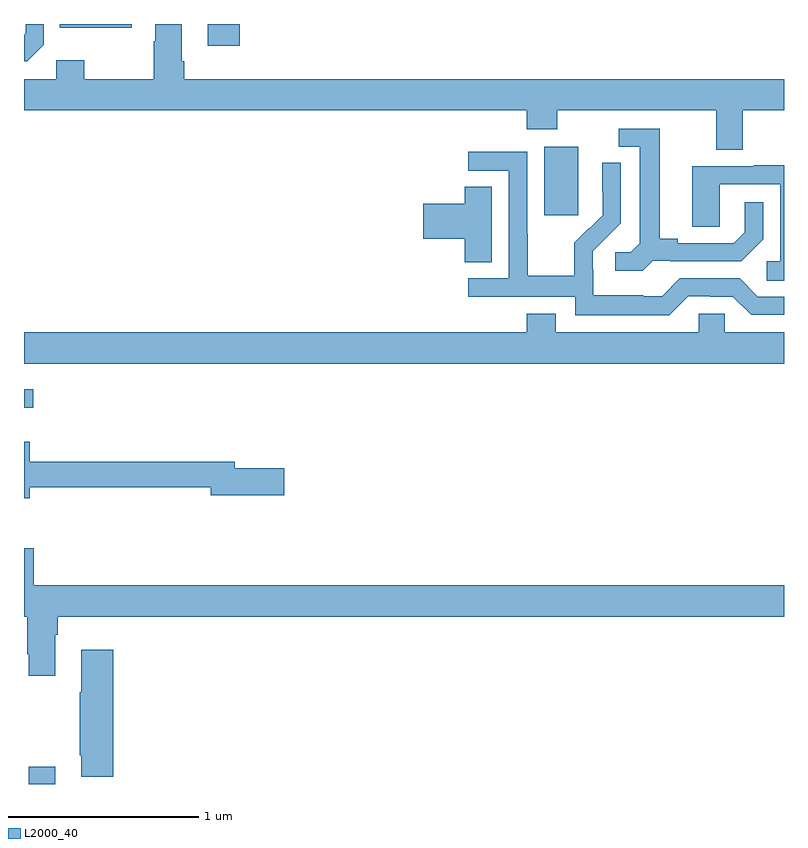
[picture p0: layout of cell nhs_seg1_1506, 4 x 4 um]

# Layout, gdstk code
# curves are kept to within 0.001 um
import gdstk
lib = gdstk.Library(unit=1e-6, precision=1e-09)
def R(c, l, rs):  # rectangles x0, y0, x1, y1
    for r in rs: c.add(gdstk.rectangle(r[:2], r[2:], *l))
def P(c, l, *ps):  # polygons
    for p in ps: c.add(gdstk.Polygon(p, *l))
L2000_40 = (2000, 40)

nhs_seg1_1506 = lib.new_cell('nhs_seg1_1506')
R(nhs_seg1_1506, L2000_40, [(193.025,536.199,193.165,536.29), (193,538.179,193.048,538.276), (195.737,539.193,195.916,539.554), (193.967,540.084,194.135,540.199), (193.189,540.179,193.567,540.199)])
P(nhs_seg1_1506, L2000_40, [(193.104,540.09),(193.104,540.199),(193.008,540.199),(193.008,540.15),(193,540.142),(193,540.003),(193.017,540.003)],
  [(196.783,539.744),(197,539.744),(197,539.908),(193.844,539.908),(193.844,540.004),(193.831,540.004),(193.831,540.199),(193.691,540.199),(193.691,540.107),(193.684,540.107),(193.684,539.908),(193.317,539.908),(193.317,540.007),(193.17,540.007),(193.17,539.908),(193,539.908),(193,539.744),(195.647,539.744),(195.647,539.645),(195.807,539.645),(195.807,539.744),(196.643,539.744),(196.643,539.536),(196.783,539.536)],
  [(196.308,538.953),(196.402,538.953),(196.402,538.95),(196.774,538.95),(196.89,539.066),(196.89,539.26),(196.793,539.26),(196.793,539.103),(196.736,539.046),(196.441,539.046),(196.441,539.069),(196.345,539.069),(196.345,539.649),(196.131,539.649),(196.131,539.553),(196.241,539.553),(196.241,539.045),(196.194,538.998),(196.113,538.998),(196.113,538.901),(196.256,538.901)],
  [(196.497,538.767),(196.613,538.767),(196.613,538.764),(196.731,538.764),(196.827,538.668),(197,538.668),(197,538.764),(196.863,538.764),(196.767,538.86),(196.452,538.86),(196.359,538.767),(196.259,538.767),(196.259,538.771),(195.996,538.771),(195.996,538.905),(195.994,538.905),(195.994,539.002),(196.14,539.15),(196.14,539.468),(196.044,539.468),(196.044,539.314),(196.046,539.314),(196.046,539.192),(195.975,539.121),(195.972,539.124),(195.895,539.047),(195.895,538.873),(195.651,538.873),(195.651,539.096),(195.648,539.096),(195.648,539.526),(195.339,539.526),(195.339,539.427),(195.552,539.427),(195.552,538.86),(195.339,538.86),(195.339,538.764),(195.9,538.764),(195.9,538.667),(196.397,538.667)],
  [(197,539.455),(196.841,539.455),(196.841,539.451),(196.517,539.451),(196.517,539.131),(196.662,539.131),(196.662,539.355),(196.98,539.355),(196.98,538.95),(196.908,538.95),(196.908,538.849),(197,538.849)],
  [(195.463,539.342),(195.32,539.342),(195.32,539.252),(195.102,539.252),(195.102,539.069),(195.32,539.069),(195.32,538.945),(195.463,538.945)],
  [(197,538.576),(196.689,538.576),(196.689,538.674),(196.551,538.674),(196.551,538.576),(195.799,538.576),(195.799,538.675),(195.647,538.675),(195.647,538.576),(193,538.576),(193,538.412),(197,538.412)],
  [(193.03,537.76),(193.982,537.76),(193.982,537.718),(194.371,537.718),(194.371,537.86),(194.11,537.86),(194.11,537.896),(193.03,537.896),(193.03,538),(193,538),(193,537.704),(193.03,537.704)],
  [(193.165,536.984),(193.178,536.984),(193.178,537.08),(197,537.08),(197,537.244),(193.052,537.244),(193.052,537.439),(193,537.439),(193,537.08),(193.018,537.08),(193.018,536.881),(193.025,536.881),(193.025,536.769),(193.165,536.769)],
  [(193.469,536.905),(193.301,536.905),(193.301,536.681),(193.294,536.681),(193.294,536.35),(193.301,536.35),(193.301,536.238),(193.469,536.238)])

lib.write_gds('nhs_seg1_1506.gds')
